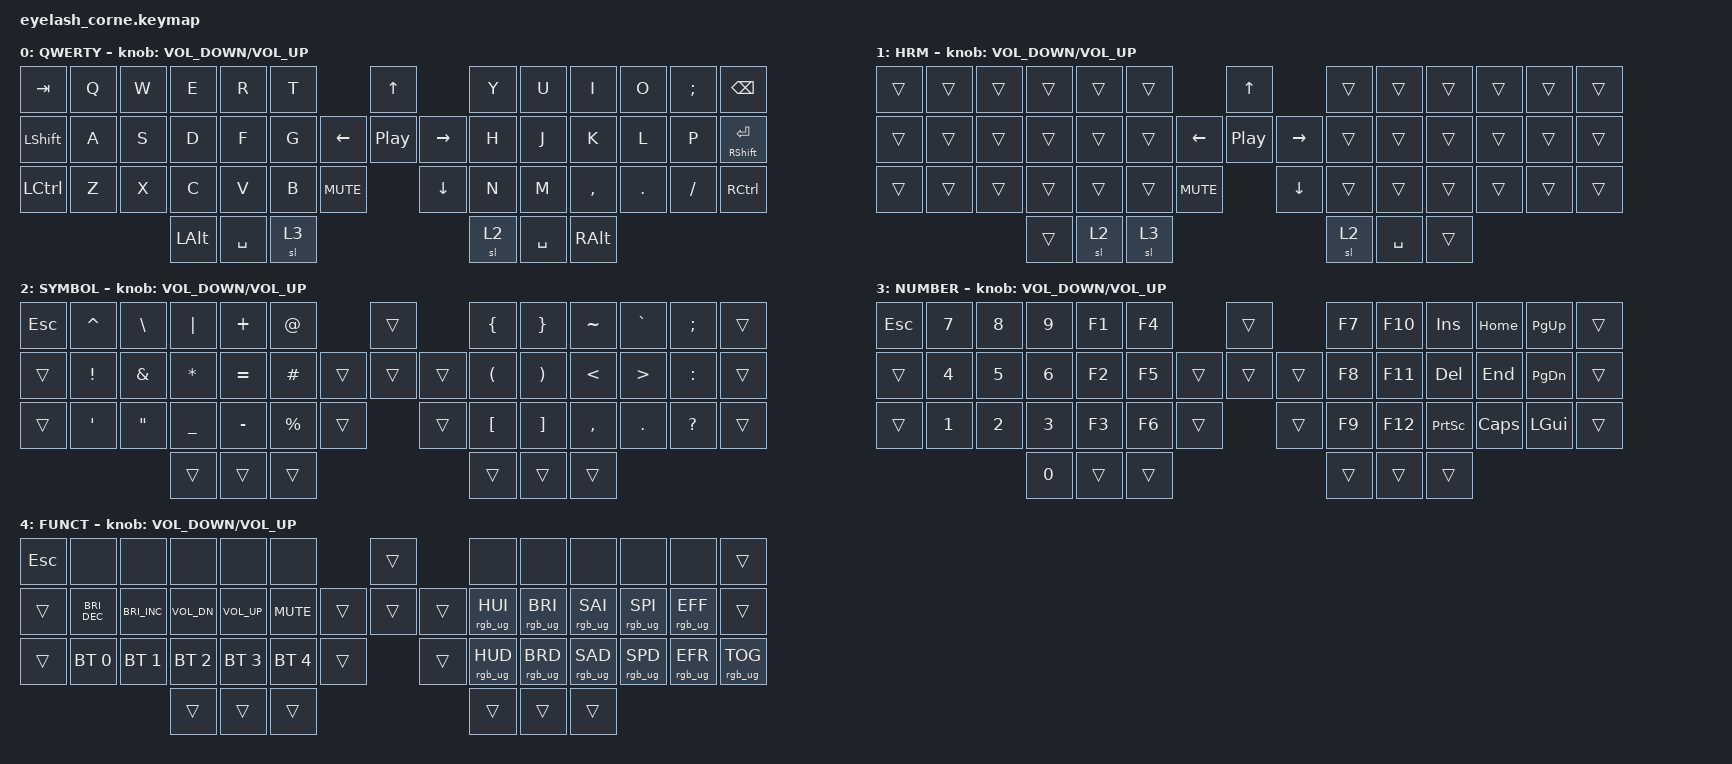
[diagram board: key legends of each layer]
#define ZMK_POINTING_DEFAULT_MOVE_VAL 1200  // 600
#define ZMK_POINTING_DEFAULT_SCRL_VAL 25   // 10

#include <input/processors.dtsi>
#include <zephyr/dt-bindings/input/input-event-codes.h>
#include <behaviors.dtsi>
#include <dt-bindings/zmk/bt.h>
#include <dt-bindings/zmk/keys.h>
#include <dt-bindings/zmk/rgb.h>

&mmv_input_listener { input-processors = <&zip_xy_scaler 2 1>; };

&msc_input_listener { input-processors = <&zip_scroll_scaler 2 1>; };

&msc {
    acceleration-exponent = <1>;      // 0
    time-to-max-speed-ms = <200>;       // 300                   // 0
};

&mmv { trigger-period-ms = <16>; };

&mt {
    tapping-term-ms = <120>;
    flavor = "tap-preferred";
};

&lt {
    tapping-term-ms = <135>;
    quick-tap-ms = <135>;
};

&sl { release-after-ms = <100>; };

/ {
    combos {
        compatible = "zmk,combos";

        clear_bt_R {
            bindings = <&bt BT_CLR>;
            key-positions = <42 28 0>;
            layers = <0 1>;
            require-prior-idle-ms = <200>;
            timeout-ms = <25>;
        };

        end_chord {
            bindings = <&kp END>;
            key-positions = <38 37>;
            timeout-ms = <20>;
            layers = <1>;
            require-prior-idle-ms = <200>;
        };

        home_chord {
            bindings = <&kp HOME>;
            key-positions = <9 8>;
            timeout-ms = <20>;
            layers = <1>;
            require-prior-idle-ms = <200>;
        };

        del_chord {
            bindings = <&kp DELETE>;
            key-positions = <37 36>;
            timeout-ms = <20>;
            layers = <1>;
            require-prior-idle-ms = <200>;
        };

        enter_chord {
            bindings = <&kp INSERT>;
            key-positions = <8 7>;
            layers = <1>;
            timeout-ms = <20>;
            require-prior-idle-ms = <200>;
        };

        R_Layer_Sys {
            bindings = <&mo 4>;
            key-positions = <41 46>;
            require-prior-idle-ms = <200>;
            slow-release;
            timeout-ms = <25>;
            layers = <0 1>;
        };

        L_Layer_Sys {
            bindings = <&mo 4>;
            key-positions = <28 43>;
            slow-release;
            timeout-ms = <25>;
            require-prior-idle-ms = <200>;
            layers = <0 1>;
        };

        L_PUp {
            bindings = <&kp PAGE_UP>;
            key-positions = <10 9>;
            layers = <1>;
            timeout-ms = <20>;
            require-prior-idle-ms = <200>;
        };

        L_PDwn {
            bindings = <&kp PAGE_DOWN>;
            key-positions = <39 38>;
            layers = <1>;
            timeout-ms = <20>;
            require-prior-idle-ms = <200>;
        };

        R_mo {
            bindings = <&mo 3>;
            key-positions = <41 45>;
            timeout-ms = <35>;
            slow-release;
            layers = <0>;
            require-prior-idle-ms = <153>;
        };

        L_mo {
            bindings = <&mo 2>;
            key-positions = <44 28>;
            timeout-ms = <35>;
            slow-release;
            layers = <0>;
            require-prior-idle-ms = <153>;
        };

        L_HRM {
            bindings = <&tog 1>;
            key-positions = <43 44>;
            layers = <0 1>;
            timeout-ms = <30>;
            require-prior-idle-ms = <200>;
        };

        R_HRM {
            bindings = <&tog 1>;
            key-positions = <45 46>;
            layers = <0 1>;
            timeout-ms = <30>;
            require-prior-idle-ms = <200>;
        };

        L_Enter {
            bindings = <&kp ENTER>;
            key-positions = <16 15>;
            require-prior-idle-ms = <200>;
            timeout-ms = <30>;
            layers = <1>;
        };
    };

    behaviors {
        hrm_r_layer: hrm_r_layer {
            compatible = "zmk,behavior-hold-tap";
            label = "HRM_R_LAYER";
            bindings = <&mo>, <&kp>;

            #binding-cells = <2>;
            flavor = "balanced";
            tapping-term-ms = <200>;
            quick-tap-ms = <150>;
            require-prior-idle-ms = <125>;
            hold-trigger-on-release;
            hold-trigger-key-positions = <1 2 3 4 5 14 15 16 17 18 29 30 31 32 33>;
        };

        hrm_l_layer: hrm_l_layer {
            compatible = "zmk,behavior-hold-tap";
            label = "HRM_L_LAYER";
            bindings = <&mo>, <&kp>;

            #binding-cells = <2>;
            tapping-term-ms = <200>;
            quick-tap-ms = <150>;
            require-prior-idle-ms = <125>;
            flavor = "balanced";
            hold-trigger-on-release;
            hold-trigger-key-positions = <7 8 9 10 11 22 23 24 25 26 36 37 38 39 40>;
        };

        hrm_r: hrm_r {
            compatible = "zmk,behavior-hold-tap";
            label = "HRM_R";
            bindings = <&kp>, <&kp>;

            #binding-cells = <2>;
            flavor = "balanced";
            tapping-term-ms = <200>;
            quick-tap-ms = <150>;
            require-prior-idle-ms = <150>;
            hold-trigger-on-release;
            hold-trigger-key-positions = <1 2 3 4 5 14 15 16 17 18 29 30 31 32 33 0 13 28 42 43 34>;
        };

        hrm_l: hrm_l {
            compatible = "zmk,behavior-hold-tap";
            label = "HRM_L";
            bindings = <&kp>, <&kp>;

            #binding-cells = <2>;
            tapping-term-ms = <200>;
            quick-tap-ms = <150>;
            require-prior-idle-ms = <150>;
            flavor = "balanced";
            hold-trigger-on-release;
            hold-trigger-key-positions = <7 8 9 10 11 22 23 24 25 26 36 37 38 39 40 47 12 27 41 46 6 19 35 21 20>;
        };

        td_sn: td_sn {
            compatible = "zmk,behavior-tap-dance";
            label = "TD_SN";
            #binding-cells = <0>;
            bindings = <&sl 2>, <&sl 3>;

            tapping-term-ms = <300>;
        };

        td_ns: td_ns {
            compatible = "zmk,behavior-tap-dance";
            label = "TD_NS";
            #binding-cells = <0>;
            bindings = <&sl 3>, <&sl 2>;

            tapping-term-ms = <300>;
        };

        td_caps: td_caps {
            compatible = "zmk,behavior-tap-dance";
            label = "TD_CAPS";
            #binding-cells = <0>;
            bindings = <&kp LEFT_SHIFT>, <&kp CAPSLOCK>;

            tapping-term-ms = <250>;
        };
    };

    keymap {
        compatible = "zmk,keymap";

        default_layer {
            display-name = "QWERTY";
            bindings = <
&kp TAB         &kp Q  &kp W  &kp E         &kp R      &kp T                          &kp UP                       &kp Y  &kp U      &kp I          &kp O    &kp SEMI   &kp BACKSPACE
&kp LEFT_SHIFT  &kp A  &kp S  &kp D         &kp F      &kp G                &kp LEFT  &kp C_PLAY_PAUSE  &kp RIGHT  &kp H  &kp J      &kp K          &kp L    &kp P      &mt RIGHT_SHIFT ENTER
&kp LCTRL       &kp Z  &kp X  &kp C         &kp V      &kp B  &kp C_MUTE              &kp DOWN                     &kp N  &kp M      &kp COMMA      &kp DOT  &kp SLASH  &kp RCTRL
                              &kp LEFT_ALT  &kp SPACE  &sl 3                                                       &sl 2  &kp SPACE  &kp RIGHT_ALT
            >;

            sensor-bindings = <&inc_dec_kp C_VOLUME_DOWN C_VOLUME_UP>;
        };

        hrm_layer {
            display-name = "HRM";
            bindings = <
&trans  &trans  &trans  &trans  &trans  &trans                          &kp UP                       &trans  &trans     &trans  &trans  &trans  &trans
&trans  &trans  &trans  &trans  &trans  &trans                &kp LEFT  &kp C_PLAY_PAUSE  &kp RIGHT  &trans  &trans     &trans  &trans  &trans  &trans
&trans  &trans  &trans  &trans  &trans  &trans  &kp C_MUTE              &kp DOWN                     &trans  &trans     &trans  &trans  &trans  &trans
                        &trans  &sl 2   &sl 3                                                        &sl 2   &kp SPACE  &trans
            >;

            sensor-bindings = <&inc_dec_kp C_VOLUME_DOWN C_VOLUME_UP>;
        };

        symbol_layer {
            display-name = "SYMBOL";
            bindings = <
&kp ESCAPE  &kp CARET         &kp BACKSLASH      &kp PIPE   &kp PLUS   &kp AT                         &trans          &kp LEFT_BRACE        &kp RIGHT_BRACE        &kp TILDE      &kp GRAVE         &kp SEMI      &trans
&trans      &kp EXCL          &kp AMPS           &kp STAR   &kp EQUAL  &kp POUND              &trans  &trans  &trans  &kp LEFT_PARENTHESIS  &kp RIGHT_PARENTHESIS  &kp LESS_THAN  &kp GREATER_THAN  &kp COLON     &trans
&trans      &kp SINGLE_QUOTE  &kp DOUBLE_QUOTES  &kp UNDER  &kp MINUS  &kp PERCENT  &trans            &trans          &kp LEFT_BRACKET      &kp RIGHT_BRACKET      &kp COMMA      &kp PERIOD        &kp QUESTION  &trans
                                                 &trans     &trans     &trans                                         &trans                &trans                 &trans
            >;

            sensor-bindings = <&inc_dec_kp C_VOLUME_DOWN C_VOLUME_UP>;
        };

        number_layer {
            display-name = "NUMBER";
            bindings = <
&kp ESCAPE  &kp N7        &kp NUMBER_8  &kp NUMBER_9  &kp F1  &kp F4                    &trans          &kp F7  &kp F10  &kp INSERT       &kp HOME      &kp PAGE_UP    &trans
&trans      &kp NUMBER_4  &kp NUMBER_5  &kp NUMBER_6  &kp F2  &kp F5            &trans  &trans  &trans  &kp F8  &kp F11  &kp DELETE       &kp END       &kp PAGE_DOWN  &trans
&trans      &kp NUMBER_1  &kp NUMBER_2  &kp NUMBER_3  &kp F3  &kp F6  &trans            &trans          &kp F9  &kp F12  &kp PRINTSCREEN  &kp CAPSLOCK  &kp LEFT_GUI   &trans
                                        &kp N0        &trans  &trans                                    &trans  &trans   &trans
            >;

            sensor-bindings = <&inc_dec_kp C_VOLUME_DOWN C_VOLUME_UP>;
        };

        system_layer {
            display-name = "FUNCT";
            bindings = <
&kp ESCAPE  &none                 &none                 &none         &none            &none                           &trans          &none            &none            &none            &none            &none            &trans
&trans      &kp C_BRIGHTNESS_DEC  &kp C_BRIGHTNESS_INC  &kp C_VOL_DN  &kp C_VOLUME_UP  &kp C_MUTE              &trans  &trans  &trans  &rgb_ug RGB_HUI  &rgb_ug RGB_BRI  &rgb_ug RGB_SAI  &rgb_ug RGB_SPI  &rgb_ug RGB_EFF  &trans
&trans      &bt BT_SEL 0          &bt BT_SEL 1          &bt BT_SEL 2  &bt BT_SEL 3     &bt BT_SEL 4  &trans            &trans          &rgb_ug RGB_HUD  &rgb_ug RGB_BRD  &rgb_ug RGB_SAD  &rgb_ug RGB_SPD  &rgb_ug RGB_EFR  &rgb_ug RGB_TOG
                                                        &trans        &trans           &trans                                          &trans           &trans           &trans
            >;

            sensor-bindings = <&inc_dec_kp C_VOLUME_DOWN C_VOLUME_UP>;
        };
    };
};
